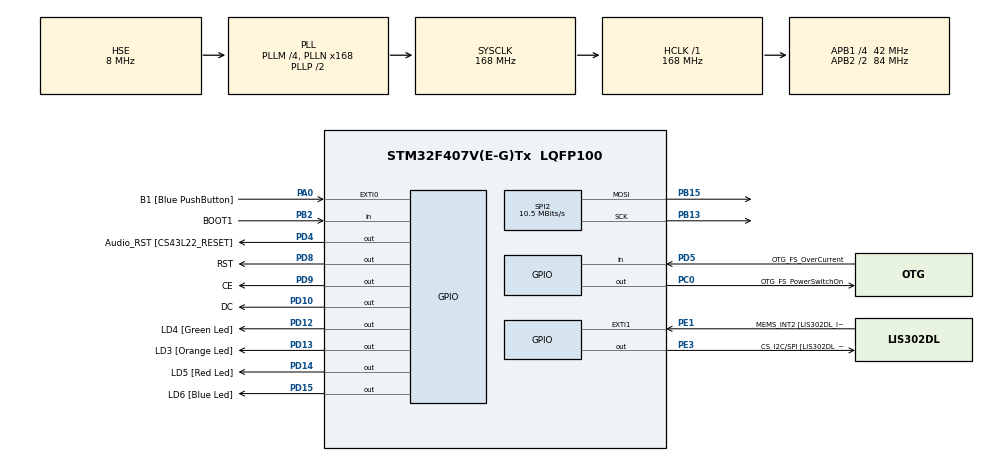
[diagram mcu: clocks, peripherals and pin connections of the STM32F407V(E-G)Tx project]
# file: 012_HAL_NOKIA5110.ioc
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Dma.Request0=SPI2_TX
Dma.SPI2_TX.0.Direction=DMA_MEMORY_TO_PERIPH
Dma.SPI2_TX.0.FIFOMode=DMA_FIFOMODE_DISABLE
Dma.SPI2_TX.0.Instance=DMA1_Stream4
Dma.SPI2_TX.0.MemDataAlignment=DMA_MDATAALIGN_BYTE
Dma.SPI2_TX.0.MemInc=DMA_MINC_ENABLE
Dma.SPI2_TX.0.Mode=DMA_NORMAL
Dma.SPI2_TX.0.PeriphDataAlignment=DMA_PDATAALIGN_BYTE
Dma.SPI2_TX.0.PeriphInc=DMA_PINC_DISABLE
Dma.SPI2_TX.0.Priority=DMA_PRIORITY_LOW
Mcu.Family=STM32F4
Mcu.Name=STM32F407V(E-G)Tx
Mcu.Package=LQFP100
NVIC.DMA1_Stream4_IRQn=true\:0\:0\:false\:false\:true\:false\:true\:true
NVIC.PriorityGroup=NVIC_PRIORITYGROUP_0
PA0-WKUP.GPIO_Label=B1 [Blue PushButton]
PA0-WKUP.Signal=GPXTI0
PA10.GPIO_Label=OTG_FS_ID
PA10.GPIO_Mode=GPIO_MODE_AF_PP
PA10.GPIO_PuPd=GPIO_NOPULL
PA10.GPIO_Speed=GPIO_SPEED_FREQ_LOW
PA10.Signal=USB_OTG_FS_ID
PA11.GPIO_Label=OTG_FS_DM
PA11.GPIO_Mode=GPIO_MODE_AF_PP
PA11.GPIO_PuPd=GPIO_NOPULL
PA11.GPIO_Speed=GPIO_SPEED_FREQ_LOW
PA11.Signal=USB_OTG_FS_DM
PA12.GPIO_Label=OTG_FS_DP
PA12.GPIO_Mode=GPIO_MODE_AF_PP
PA12.GPIO_PuPd=GPIO_NOPULL
PA12.GPIO_Speed=GPIO_SPEED_FREQ_LOW
PA12.Signal=USB_OTG_FS_DP
PA13.GPIO_Label=SWDIO
PA13.Signal=SYS_JTMS-SWDIO
PA14.GPIO_Label=SWCLK
PA14.Signal=SYS_JTCK-SWCLK
PA4.GPIO_Label=I2S3_WS [CS43L22_LRCK]
PA4.GPIO_Mode=GPIO_MODE_AF_PP
PA4.GPIO_PuPd=GPIO_NOPULL
PA4.GPIO_Speed=GPIO_SPEED_FREQ_LOW
PA4.Signal=I2S3_WS
PA5.GPIO_Label=SPI1_SCK [LIS302DL_SCL/SPC]
PA5.GPIO_Mode=GPIO_MODE_AF_PP
PA5.GPIO_PuPd=GPIO_NOPULL
PA5.GPIO_Speed=GPIO_SPEED_FREQ_LOW
PA5.Signal=SPI1_SCK
PA6.GPIO_Label=SPI1_MISO [LIS302DL_SDO]
PA6.GPIO_Mode=GPIO_MODE_AF_PP
PA6.GPIO_PuPd=GPIO_NOPULL
PA6.GPIO_Speed=GPIO_SPEED_FREQ_LOW
PA6.Signal=SPI1_MISO
PA7.GPIO_Label=SPI1_MOSI [LIS302DL_SDA/SDI/SDO]
PA7.GPIO_Mode=GPIO_MODE_AF_PP
PA7.GPIO_PuPd=GPIO_NOPULL
PA7.GPIO_Speed=GPIO_SPEED_FREQ_LOW
PA7.Signal=SPI1_MOSI
PA9.GPIO_Label=VBUS_FS
PA9.GPIO_Mode=GPIO_MODE_INPUT
PA9.GPIO_PuPd=GPIO_NOPULL
PA9.Signal=USB_OTG_FS_VBUS
PB10.GPIO_Label=CLK_IN [MP45DT02_CLK]
PB10.GPIO_Mode=GPIO_MODE_AF_PP
PB10.GPIO_PuPd=GPIO_NOPULL
PB10.GPIO_Speed=GPIO_SPEED_FREQ_LOW
PB10.Signal=I2S2_CK
PB13.Mode=TX_Only_Simplex_Unidirect_Master
PB13.Signal=SPI2_SCK
PB15.Mode=TX_Only_Simplex_Unidirect_Master
PB15.Signal=SPI2_MOSI
PB2.GPIO_Label=BOOT1
PB2.GPIO_Mode=GPIO_MODE_INPUT
PB2.GPIO_PuPd=GPIO_NOPULL
PB2.Signal=GPIO_Input
PB3.GPIO_Label=SWO
PB3.Signal=SYS_JTDO-SWO
PB6.GPIO_Label=Audio_SCL [CS43L22_SCL]
PB6.GPIO_Mode=GPIO_MODE_AF_OD
PB6.GPIO_PuPd=GPIO_NOPULL
PB6.GPIO_Speed=GPIO_SPEED_FREQ_LOW
PB6.Signal=I2C1_SCL
PB9.GPIO_Label=Audio_SDA [CS43L22_SDA]
PB9.GPIO_Mode=GPIO_MODE_AF_OD
PB9.GPIO_PuPd=GPIO_NOPULL
PB9.GPIO_Speed=GPIO_SPEED_FREQ_LOW
PB9.Signal=I2C1_SDA
PC0.GPIO_Label=OTG_FS_PowerSwitchOn
PC0.GPIO_PuPd=GPIO_NOPULL
PC0.GPIO_Speed=GPIO_SPEED_FREQ_LOW
PC0.PinState=GPIO_PIN_SET
PC0.Signal=GPIO_Output
PC10.GPIO_Label=I2S3_SCK [CS43L22_SCLK]
PC10.GPIO_Mode=GPIO_MODE_AF_PP
PC10.GPIO_PuPd=GPIO_NOPULL
PC10.GPIO_Speed=GPIO_SPEED_FREQ_LOW
PC10.Signal=I2S3_CK
PC12.GPIO_Label=I2S3_SD [CS43L22_SDIN]
PC12.GPIO_Mode=GPIO_MODE_AF_PP
PC12.GPIO_PuPd=GPIO_NOPULL
PC12.GPIO_Speed=GPIO_SPEED_FREQ_LOW
PC12.Signal=I2S3_SD
PC14-OSC32_IN.GPIO_Label=PC14-OSC32_IN
PC14-OSC32_IN.Signal=RCC_OSC32_IN
PC15-OSC32_OUT.GPIO_Label=PC15-OSC32_OUT
PC15-OSC32_OUT.Signal=RCC_OSC32_OUT
PC3.GPIO_Label=PDM_OUT [MP45DT02_DOUT]
PC3.GPIO_Mode=GPIO_MODE_AF_PP
PC3.GPIO_PuPd=GPIO_NOPULL
PC3.GPIO_Speed=GPIO_SPEED_FREQ_LOW
PC3.Signal=I2S2_SD
PC7.GPIO_Label=I2S3_MCK [CS43L22_MCLK]
PC7.GPIO_Mode=GPIO_MODE_AF_PP
PC7.GPIO_PuPd=GPIO_NOPULL
PC7.GPIO_Speed=GPIO_SPEED_FREQ_LOW
PC7.Signal=I2S3_MCK
PD10.GPIO_Label=DC
PD10.Signal=GPIO_Output
PD12.GPIO_Label=LD4 [Green Led]
PD12.GPIO_PuPd=GPIO_NOPULL
PD12.GPIO_Speed=GPIO_SPEED_FREQ_LOW
PD12.Signal=GPIO_Output
PD13.GPIO_Label=LD3 [Orange Led]
PD13.GPIO_PuPd=GPIO_NOPULL
PD13.GPIO_Speed=GPIO_SPEED_FREQ_LOW
PD13.Signal=GPIO_Output
PD14.GPIO_Label=LD5 [Red Led]
PD14.GPIO_PuPd=GPIO_NOPULL
PD14.GPIO_Speed=GPIO_SPEED_FREQ_LOW
PD14.Signal=GPIO_Output
PD15.GPIO_Label=LD6 [Blue Led]
PD15.GPIO_PuPd=GPIO_NOPULL
PD15.GPIO_Speed=GPIO_SPEED_FREQ_LOW
PD15.Signal=GPIO_Output
PD4.GPIO_Label=Audio_RST [CS43L22_RESET]
PD4.GPIO_PuPd=GPIO_NOPULL
PD4.GPIO_Speed=GPIO_SPEED_FREQ_LOW
PD4.Signal=GPIO_Output
PD5.GPIO_Label=OTG_FS_OverCurrent
PD5.GPIO_Mode=GPIO_MODE_INPUT
PD5.GPIO_PuPd=GPIO_NOPULL
PD5.Signal=GPIO_Input
PD8.GPIO_Label=RST
PD8.Signal=GPIO_Output
PD9.GPIO_Label=CE
PD9.Signal=GPIO_Output
PE1.GPIO_Label=MEMS_INT2 [LIS302DL_INT2]
PE1.GPIO_ModeDefaultEXTI=GPIO_MODE_EVT_RISING
PE1.GPIO_PuPd=GPIO_NOPULL
PE1.Signal=GPXTI1
PE3.GPIO_Label=CS_I2C/SPI [LIS302DL_CS_I2C/SPI]
PE3.GPIO_PuPd=GPIO_NOPULL
PE3.GPIO_Speed=GPIO_SPEED_FREQ_LOW
PE3.Signal=GPIO_Output
PH0-OSC_IN.GPIO_Label=PH0-OSC_IN
PH0-OSC_IN.Mode=HSE-External-Oscillator
PH0-OSC_IN.Signal=RCC_OSC_IN
PH1-OSC_OUT.GPIO_Label=PH1-OSC_OUT
PH1-OSC_OUT.Mode=HSE-External-Oscillator
PH1-OSC_OUT.Signal=RCC_OSC_OUT
ProjectManager.HeapSize=0x200
ProjectManager.StackSize=0x400
ProjectManager.TargetToolchain=STM32CubeIDE
RCC.48MHZClocksFreq_Value=48000000
RCC.AHBFreq_Value=168000000
RCC.APB1CLKDivider=RCC_HCLK_DIV4
RCC.APB1Freq_Value=42000000
RCC.APB1TimFreq_Value=84000000
RCC.APB2CLKDivider=RCC_HCLK_DIV2
RCC.APB2Freq_Value=84000000
RCC.APB2TimFreq_Value=168000000
RCC.CortexFreq_Value=168000000
RCC.HCLKFreq_Value=168000000
RCC.HSE_VALUE=8000000
RCC.HSI_VALUE=16000000
RCC.LSE_VALUE=32768
RCC.PLLM=4
RCC.PLLN=168
RCC.PLLQ=7
RCC.PLLSourceVirtual=RCC_PLLSOURCE_HSE
RCC.SYSCLKFreq_VALUE=168000000
RCC.SYSCLKSource=RCC_SYSCLKSOURCE_PLLCLK
RCC.VCOOutputFreq_Value=336000000
SPI2.BaudRatePrescaler=SPI_BAUDRATEPRESCALER_4
SPI2.CalculateBaudRate=10.5 MBits/s
SPI2.Direction=SPI_DIRECTION_2LINES
SPI2.Mode=SPI_MODE_MASTER
SPI2.VirtualType=VM_MASTER
board=STM32F407G-DISC1

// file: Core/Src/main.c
/* USER CODE BEGIN Header */
/**
  ******************************************************************************
  * @file           : main.c
  * @brief          : Main program body
  ******************************************************************************
  * @attention
  *
  * Copyright (c) 2024 STMicroelectronics.
  * All rights reserved.
  *
  * This software is licensed under terms that can be found in the LICENSE file
  * in the root directory of this software component.
  * If no LICENSE file comes with this software, it is provided AS-IS.
  *
  ******************************************************************************
  */
/* USER CODE END Header */
#include "main.h"

/* USER CODE BEGIN Includes */
#include "Nokia5110.h"
/* USER CODE END Includes */

SPI_HandleTypeDef hspi2;
DMA_HandleTypeDef hdma_spi2_tx;

void SystemClock_Config(void);
static void MX_GPIO_Init(void);
static void MX_DMA_Init(void);
static void MX_SPI2_Init(void);

int main(void)
{

  /* MCU Configuration--------------------------------------------------------*/

  /* Reset of all peripherals, Initializes the Flash interface and the Systick. */
  HAL_Init();

  /* Configure the system clock */
  SystemClock_Config();

  /* Initialize all configured peripherals */
  MX_GPIO_Init();
  MX_DMA_Init();
  MX_SPI2_Init();
  /* USER CODE BEGIN 2 */
  nokia5110_Init();
  /* USER CODE END 2 */

  /* Infinite loop */
  while (1)
  {

    /* USER CODE BEGIN 3 */
	  /*When this code runs a F letter appea*/
	  nokia5110_SetPixel(0, 0, 1); // 0,0(x,y) index is 1(black color)
	  nokia5110_SetPixel(1, 0, 1); // 1,0(x,y) index is 1(black color)
	  nokia5110_SetPixel(2, 0, 1);
	  nokia5110_SetPixel(3, 0, 1);
	  nokia5110_SetPixel(4, 0, 1);
	  nokia5110_SetPixel(0, 1, 1);
	  nokia5110_SetPixel(0, 2, 1);
	  nokia5110_SetPixel(0, 3, 1);
	  nokia5110_SetPixel(0, 4, 1);
	  nokia5110_SetPixel(1, 4, 1);
	  nokia5110_SetPixel(2, 4, 1);
	  nokia5110_SetPixel(3, 4, 1);
	  nokia5110_SetPixel(0, 5, 1);
	  nokia5110_SetPixel(0, 6, 1);
	  nokia5110_SetPixel(0, 7, 1);

	  nokia5110_Update();
		  HAL_Delay(300);
	  nokia5110_Clear();
	  nokia5110_Update();

	  HAL_Delay(300);

  }
  /* USER CODE END 3 */
}

void SystemClock_Config(void)
{
  RCC_OscInitTypeDef RCC_OscInitStruct = {0};
  RCC_ClkInitTypeDef RCC_ClkInitStruct = {0};

  /** Configure the main internal regulator output voltage
  */
  __HAL_RCC_PWR_CLK_ENABLE();
  __HAL_PWR_VOLTAGESCALING_CONFIG(PWR_REGULATOR_VOLTAGE_SCALE1);

  /** Initializes the RCC Oscillators according to the specified parameters
  * in the RCC_OscInitTypeDef structure.
  */
  RCC_OscInitStruct.OscillatorType = RCC_OSCILLATORTYPE_HSE;
  RCC_OscInitStruct.HSEState = RCC_HSE_ON;
  RCC_OscInitStruct.PLL.PLLState = RCC_PLL_ON;
  RCC_OscInitStruct.PLL.PLLSource = RCC_PLLSOURCE_HSE;
  RCC_OscInitStruct.PLL.PLLM = 4;
  RCC_OscInitStruct.PLL.PLLN = 168;
  RCC_OscInitStruct.PLL.PLLP = RCC_PLLP_DIV2;
  RCC_OscInitStruct.PLL.PLLQ = 7;
  if (HAL_RCC_OscConfig(&RCC_OscInitStruct) != HAL_OK)
  {
    Error_Handler();
  }

  /** Initializes the CPU, AHB and APB buses clocks
  */
  RCC_ClkInitStruct.ClockType = RCC_CLOCKTYPE_HCLK|RCC_CLOCKTYPE_SYSCLK
                              |RCC_CLOCKTYPE_PCLK1|RCC_CLOCKTYPE_PCLK2;
  RCC_ClkInitStruct.SYSCLKSource = RCC_SYSCLKSOURCE_PLLCLK;
  RCC_ClkInitStruct.AHBCLKDivider = RCC_SYSCLK_DIV1;
  RCC_ClkInitStruct.APB1CLKDivider = RCC_HCLK_DIV4;
  RCC_ClkInitStruct.APB2CLKDivider = RCC_HCLK_DIV2;

  if (HAL_RCC_ClockConfig(&RCC_ClkInitStruct, FLASH_LATENCY_5) != HAL_OK)
  {
    Error_Handler();
  }
}

static void MX_SPI2_Init(void)
{

  /* SPI2 parameter configuration*/
  hspi2.Instance = SPI2;
  hspi2.Init.Mode = SPI_MODE_MASTER;
  hspi2.Init.Direction = SPI_DIRECTION_2LINES;
  hspi2.Init.DataSize = SPI_DATASIZE_8BIT;
  hspi2.Init.CLKPolarity = SPI_POLARITY_LOW;
  hspi2.Init.CLKPhase = SPI_PHASE_1EDGE;
  hspi2.Init.NSS = SPI_NSS_SOFT;
  hspi2.Init.BaudRatePrescaler = SPI_BAUDRATEPRESCALER_4;
  hspi2.Init.FirstBit = SPI_FIRSTBIT_MSB;
  hspi2.Init.TIMode = SPI_TIMODE_DISABLE;
  hspi2.Init.CRCCalculation = SPI_CRCCALCULATION_DISABLE;
  hspi2.Init.CRCPolynomial = 10;
  if (HAL_SPI_Init(&hspi2) != HAL_OK)
  {
    Error_Handler();
  }

}

static void MX_DMA_Init(void)
{

  /* DMA controller clock enable */
  __HAL_RCC_DMA1_CLK_ENABLE();

  /* DMA interrupt init */
  /* DMA1_Stream4_IRQn interrupt configuration */
  HAL_NVIC_SetPriority(DMA1_Stream4_IRQn, 0, 0);
  HAL_NVIC_EnableIRQ(DMA1_Stream4_IRQn);

}

static void MX_GPIO_Init(void)
{
  GPIO_InitTypeDef GPIO_InitStruct = {0};

  /* GPIO Ports Clock Enable */
  __HAL_RCC_GPIOE_CLK_ENABLE();
  __HAL_RCC_GPIOC_CLK_ENABLE();
  __HAL_RCC_GPIOH_CLK_ENABLE();
  __HAL_RCC_GPIOA_CLK_ENABLE();
  __HAL_RCC_GPIOB_CLK_ENABLE();
  __HAL_RCC_GPIOD_CLK_ENABLE();

  /*Configure GPIO pin Output Level */
  HAL_GPIO_WritePin(CS_I2C_SPI_GPIO_Port, CS_I2C_SPI_Pin, GPIO_PIN_RESET);

  /*Configure GPIO pin Output Level */
  HAL_GPIO_WritePin(OTG_FS_PowerSwitchOn_GPIO_Port, OTG_FS_PowerSwitchOn_Pin, GPIO_PIN_SET);

  /*Configure GPIO pin Output Level */
  HAL_GPIO_WritePin(GPIOD, RST_Pin|CE_Pin|DC_Pin|LD4_Pin
                          |LD3_Pin|LD5_Pin|LD6_Pin|Audio_RST_Pin, GPIO_PIN_RESET);

  /*Configure GPIO pin : CS_I2C_SPI_Pin */
  GPIO_InitStruct.Pin = CS_I2C_SPI_Pin;
  GPIO_InitStruct.Mode = GPIO_MODE_OUTPUT_PP;
  GPIO_InitStruct.Pull = GPIO_NOPULL;
  GPIO_InitStruct.Speed = GPIO_SPEED_FREQ_LOW;
  HAL_GPIO_Init(CS_I2C_SPI_GPIO_Port, &GPIO_InitStruct);

  /*Configure GPIO pin : OTG_FS_PowerSwitchOn_Pin */
  GPIO_InitStruct.Pin = OTG_FS_PowerSwitchOn_Pin;
  GPIO_InitStruct.Mode = GPIO_MODE_OUTPUT_PP;
  GPIO_InitStruct.Pull = GPIO_NOPULL;
  GPIO_InitStruct.Speed = GPIO_SPEED_FREQ_LOW;
  HAL_GPIO_Init(OTG_FS_PowerSwitchOn_GPIO_Port, &GPIO_InitStruct);

  /*Configure GPIO pin : PDM_OUT_Pin */
  GPIO_InitStruct.Pin = PDM_OUT_Pin;
  GPIO_InitStruct.Mode = GPIO_MODE_AF_PP;
  GPIO_InitStruct.Pull = GPIO_NOPULL;
  GPIO_InitStruct.Speed = GPIO_SPEED_FREQ_LOW;
  GPIO_InitStruct.Alternate = GPIO_AF5_SPI2;
  HAL_GPIO_Init(PDM_OUT_GPIO_Port, &GPIO_InitStruct);

  /*Configure GPIO pin : B1_Pin */
  GPIO_InitStruct.Pin = B1_Pin;
  GPIO_InitStruct.Mode = GPIO_MODE_IT_RISING;
  GPIO_InitStruct.Pull = GPIO_NOPULL;
  HAL_GPIO_Init(B1_GPIO_Port, &GPIO_InitStruct);

  /*Configure GPIO pin : I2S3_WS_Pin */
  GPIO_InitStruct.Pin = I2S3_WS_Pin;
  GPIO_InitStruct.Mode = GPIO_MODE_AF_PP;
  GPIO_InitStruct.Pull = GPIO_NOPULL;
  GPIO_InitStruct.Speed = GPIO_SPEED_FREQ_LOW;
  GPIO_InitStruct.Alternate = GPIO_AF6_SPI3;
  HAL_GPIO_Init(I2S3_WS_GPIO_Port, &GPIO_InitStruct);

  /*Configure GPIO pins : SPI1_SCK_Pin SPI1_MISO_Pin SPI1_MOSI_Pin */
  GPIO_InitStruct.Pin = SPI1_SCK_Pin|SPI1_MISO_Pin|SPI1_MOSI_Pin;
  GPIO_InitStruct.Mode = GPIO_MODE_AF_PP;
  GPIO_InitStruct.Pull = GPIO_NOPULL;
  GPIO_InitStruct.Speed = GPIO_SPEED_FREQ_LOW;
  GPIO_InitStruct.Alternate = GPIO_AF5_SPI1;
  HAL_GPIO_Init(GPIOA, &GPIO_InitStruct);

  /*Configure GPIO pin : BOOT1_Pin */
  GPIO_InitStruct.Pin = BOOT1_Pin;
  GPIO_InitStruct.Mode = GPIO_MODE_INPUT;
  GPIO_InitStruct.Pull = GPIO_NOPULL;
  HAL_GPIO_Init(BOOT1_GPIO_Port, &GPIO_InitStruct);

  /*Configure GPIO pin : CLK_IN_Pin */
  GPIO_InitStruct.Pin = CLK_IN_Pin;
  GPIO_InitStruct.Mode = GPIO_MODE_AF_PP;
  GPIO_InitStruct.Pull = GPIO_NOPULL;
  GPIO_InitStruct.Speed = GPIO_SPEED_FREQ_LOW;
  GPIO_InitStruct.Alternate = GPIO_AF5_SPI2;
  HAL_GPIO_Init(CLK_IN_GPIO_Port, &GPIO_InitStruct);

  /*Configure GPIO pins : RST_Pin CE_Pin DC_Pin LD4_Pin
                           LD3_Pin LD5_Pin LD6_Pin Audio_RST_Pin */
  GPIO_InitStruct.Pin = RST_Pin|CE_Pin|DC_Pin|LD4_Pin
                          |LD3_Pin|LD5_Pin|LD6_Pin|Audio_RST_Pin;
  GPIO_InitStruct.Mode = GPIO_MODE_OUTPUT_PP;
  GPIO_InitStruct.Pull = GPIO_NOPULL;
  GPIO_InitStruct.Speed = GPIO_SPEED_FREQ_LOW;
  HAL_GPIO_Init(GPIOD, &GPIO_InitStruct);

  /*Configure GPIO pins : I2S3_MCK_Pin I2S3_SCK_Pin I2S3_SD_Pin */
  GPIO_InitStruct.Pin = I2S3_MCK_Pin|I2S3_SCK_Pin|I2S3_SD_Pin;
  GPIO_InitStruct.Mode = GPIO_MODE_AF_PP;
  GPIO_InitStruct.Pull = GPIO_NOPULL;
  GPIO_InitStruct.Speed = GPIO_SPEED_FREQ_LOW;
  GPIO_InitStruct.Alternate = GPIO_AF6_SPI3;
  HAL_GPIO_Init(GPIOC, &GPIO_InitStruct);

  /*Configure GPIO pin : VBUS_FS_Pin */
  GPIO_InitStruct.Pin = VBUS_FS_Pin;
  GPIO_InitStruct.Mode = GPIO_MODE_INPUT;
  GPIO_InitStruct.Pull = GPIO_NOPULL;
  HAL_GPIO_Init(VBUS_FS_GPIO_Port, &GPIO_InitStruct);

  /*Configure GPIO pins : OTG_FS_ID_Pin OTG_FS_DM_Pin OTG_FS_DP_Pin */
  GPIO_InitStruct.Pin = OTG_FS_ID_Pin|OTG_FS_DM_Pin|OTG_FS_DP_Pin;
  GPIO_InitStruct.Mode = GPIO_MODE_AF_PP;
  GPIO_InitStruct.Pull = GPIO_NOPULL;
  GPIO_InitStruct.Speed = GPIO_SPEED_FREQ_LOW;
  GPIO_InitStruct.Alternate = GPIO_AF10_OTG_FS;
  HAL_GPIO_Init(GPIOA, &GPIO_InitStruct);

  /*Configure GPIO pin : OTG_FS_OverCurrent_Pin */
  GPIO_InitStruct.Pin = OTG_FS_OverCurrent_Pin;
  GPIO_InitStruct.Mode = GPIO_MODE_INPUT;
  GPIO_InitStruct.Pull = GPIO_NOPULL;
  HAL_GPIO_Init(OTG_FS_OverCurrent_GPIO_Port, &GPIO_InitStruct);

  /*Configure GPIO pins : Audio_SCL_Pin Audio_SDA_Pin */
  GPIO_InitStruct.Pin = Audio_SCL_Pin|Audio_SDA_Pin;
  GPIO_InitStruct.Mode = GPIO_MODE_AF_OD;
  GPIO_InitStruct.Pull = GPIO_NOPULL;
  GPIO_InitStruct.Speed = GPIO_SPEED_FREQ_LOW;
  GPIO_InitStruct.Alternate = GPIO_AF4_I2C1;
  HAL_GPIO_Init(GPIOB, &GPIO_InitStruct);

  /*Configure GPIO pin : MEMS_INT2_Pin */
  GPIO_InitStruct.Pin = MEMS_INT2_Pin;
  GPIO_InitStruct.Mode = GPIO_MODE_EVT_RISING;
  GPIO_InitStruct.Pull = GPIO_NOPULL;
  HAL_GPIO_Init(MEMS_INT2_GPIO_Port, &GPIO_InitStruct);

}

void Error_Handler(void)
{
  __disable_irq();
  while (1)
  {
  }
}
